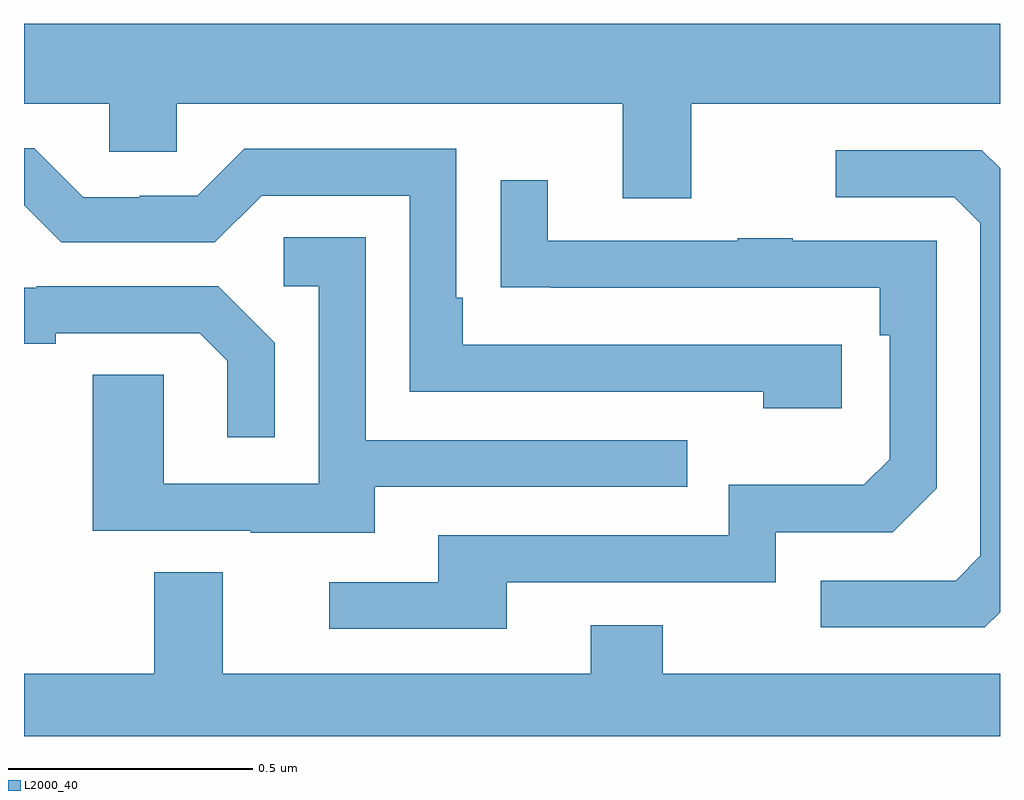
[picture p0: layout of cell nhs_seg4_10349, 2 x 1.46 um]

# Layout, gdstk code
import gdstk
lib = gdstk.Library(unit=1e-6, precision=1e-09)
def P(c, l, *ps):  # polygons
    for p in ps: c.add(gdstk.Polygon(p, *l))
L2000_40 = (2000, 40)

nhs_seg4_10349 = lib.new_cell('nhs_seg4_10349')
P(nhs_seg4_10349, L2000_40, [(240.367,754.196),(241,754.196),(241,754.36),(239,754.36),(239,754.196),(239.175,754.196),(239.175,754.098),(239.313,754.098),(239.313,754.196),(240.227,754.196),(240.227,754.002),(240.367,754.002)],
  [(240.676,753.702),(239.899,753.702),(239.899,753.799),(239.886,753.799),(239.886,754.104),(239.451,754.104),(239.355,754.008),(239.237,754.008),(239.237,754.005),(239.121,754.005),(239.021,754.105),(239,754.105),(239,753.988),(239.076,753.912),(239.391,753.912),(239.487,754.008),(239.79,754.008),(239.79,753.606),(240.515,753.606),(240.515,753.572),(240.676,753.572)],
  [(241,753.154),(241,754.064),(240.963,754.101),(240.663,754.101),(240.663,754.005),(240.906,754.005),(240.96,753.951),(240.96,753.27),(240.909,753.219),(240.633,753.219),(240.633,753.123),(240.969,753.123)],
  [(239.989,753.216),(240.54,753.216),(240.54,753.318),(240.78,753.318),(240.87,753.408),(240.87,753.915),(240.575,753.915),(240.575,753.92),(240.463,753.92),(240.463,753.915),(240.073,753.915),(240.073,754.039),(239.977,754.039),(239.977,753.82),(240.079,753.82),(240.079,753.819),(240.754,753.819),(240.754,753.722),(240.774,753.722),(240.774,753.468),(240.721,753.415),(240.444,753.415),(240.444,753.312),(239.849,753.312),(239.849,753.216),(239.625,753.216),(239.625,753.12),(239.989,753.12)],
  [(239.719,753.411),(240.359,753.411),(240.359,753.507),(239.7,753.507),(239.7,753.923),(239.532,753.923),(239.532,753.822),(239.604,753.822),(239.604,753.417),(239.286,753.417),(239.286,753.641),(239.141,753.641),(239.141,753.321),(239.465,753.321),(239.465,753.317),(239.719,753.317)],
  [(239.514,753.706),(239.398,753.822),(239.026,753.822),(239.026,753.819),(239,753.819),(239,753.704),(239.065,753.704),(239.065,753.726),(239.36,753.726),(239.417,753.669),(239.417,753.513),(239.514,753.513)],
  [(241,753.028),(240.309,753.028),(240.309,753.127),(240.161,753.127),(240.161,753.028),(239.407,753.028),(239.407,753.236),(239.267,753.236),(239.267,753.028),(239,753.028),(239,752.9),(241,752.9)])

lib.write_gds('nhs_seg4_10349.gds')
